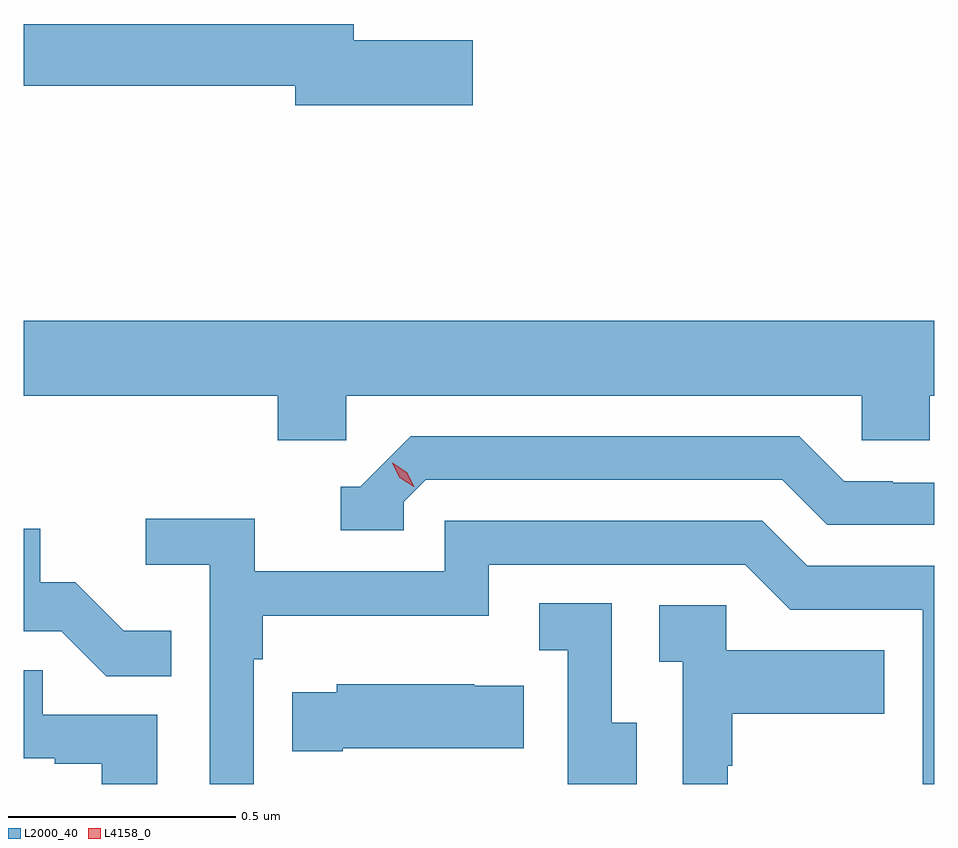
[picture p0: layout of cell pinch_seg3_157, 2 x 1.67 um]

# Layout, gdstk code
import gdstk
lib = gdstk.Library(unit=1e-6, precision=1e-09)
def P(c, l, *ps):  # polygons
    for p in ps: c.add(gdstk.Polygon(p, *l))
L2000_40 = (2000, 40)
L4158_0 = (4158, 0)

pinch_seg3_157 = lib.new_cell('pinch_seg3_157')
P(pinch_seg3_157, L2000_40, [(1091.695,723.008),(1091.434,723.008),(1091.434,723.044),(1090.709,723.044),(1090.709,722.908),(1091.306,722.908),(1091.306,722.866),(1091.695,722.866)],
  [(1091.418,722.228),(1092.549,722.228),(1092.549,722.13),(1092.699,722.13),(1092.699,722.228),(1092.709,722.228),(1092.709,722.392),(1090.709,722.392),(1090.709,722.228),(1091.267,722.228),(1091.267,722.13),(1091.418,722.13)],
  [(1091.544,721.995),(1091.592,722.043),(1092.375,722.043),(1092.474,721.944),(1092.709,721.944),(1092.709,722.037),(1092.618,722.037),(1092.618,722.04),(1092.511,722.04),(1092.412,722.139),(1091.559,722.139),(1091.448,722.028),(1091.405,722.028),(1091.405,721.932),(1091.544,721.932)],
  [(1091.214,721.649),(1091.234,721.649),(1091.234,721.745),(1091.73,721.745),(1091.73,721.857),(1092.294,721.857),(1092.393,721.758),(1092.684,721.758),(1092.684,721.375),(1092.709,721.375),(1092.709,721.854),(1092.43,721.854),(1092.331,721.953),(1091.634,721.953),(1091.634,721.842),(1091.216,721.842),(1091.216,721.958),(1090.977,721.958),(1090.977,721.856),(1091.118,721.856),(1091.118,721.375),(1091.214,721.375)],
  [(1091.033,721.711),(1090.929,721.711),(1090.822,721.818),(1090.746,721.818),(1090.746,721.935),(1090.709,721.935),(1090.709,721.71),(1090.792,721.71),(1090.89,721.612),(1091.033,721.612)],
  [(1092.055,721.509),(1092,721.509),(1092,721.772),(1091.841,721.772),(1091.841,721.669),(1091.904,721.669),(1091.904,721.375),(1092.055,721.375)],
  [(1092.255,721.415),(1092.265,721.415),(1092.265,721.529),(1092.599,721.529),(1092.599,721.669),(1092.252,721.669),(1092.252,721.767),(1092.105,721.767),(1092.105,721.643),(1092.156,721.643),(1092.156,721.375),(1092.255,721.375)],
  [(1091.002,721.527),(1090.751,721.527),(1090.751,721.625),(1090.709,721.625),(1090.709,721.431),(1090.777,721.431),(1090.777,721.419),(1090.88,721.419),(1090.88,721.375),(1091.002,721.375)],
  [(1091.41,721.454),(1091.807,721.454),(1091.807,721.591),(1091.699,721.591),(1091.699,721.594),(1091.397,721.594),(1091.397,721.576),(1091.299,721.576),(1091.299,721.447),(1091.41,721.447)])
P(pinch_seg3_157, L4158_0, [(1091.566,722.028),(1091.535,722.047),(1091.519,722.079),(1091.519,722.08),(1091.519,722.08),(1091.55,722.06),(1091.567,722.028),(1091.567,722.028)])

lib.write_gds('pinch_seg3_157.gds')
